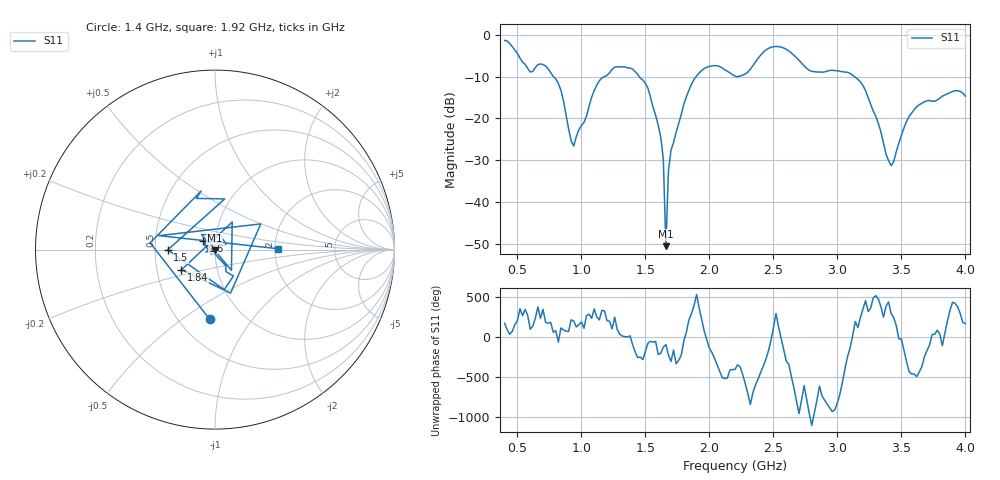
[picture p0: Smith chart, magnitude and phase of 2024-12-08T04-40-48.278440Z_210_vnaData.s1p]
!Created with skrf (http://scikit-rf.org).
# Hz S RI R 50.0
!freq ReS11 ImS11
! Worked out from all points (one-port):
!   181 points, 400 MHz to 4 GHz, reference 50 ohm
!   lowest |S11| = -50.5 dB at 1.66 GHz (marker M1), VSWR 1.01, Z = 50 - j0.297 ohm
!   |S11| at or under -10 dB: 781.8 MHz to 1.179 GHz (397.6 MHz wide, 40.5 % of centre); 1.452 GHz to 1.896 GHz (444.3 MHz wide, 26.5 % of centre); 3.134 GHz to end of sweep (the widest 3 of 4)
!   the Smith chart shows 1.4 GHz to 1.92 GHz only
!   S11 on the Smith chart (normalised r, x): 1.4 GHz: 0.70, -0.64; 1.5 GHz: 0.58, -0.00; 1.6 GHz: 0.87, +0.09; 1.84 GHz: 0.67, -0.16; 1.92 GHz: 2.07, +0.02
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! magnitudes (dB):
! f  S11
! 400 MHz  -1.4
! 600 MHz  -8.9
! 720 MHz  -7.4
! 860 MHz  -15.8
! 940 MHz  -26.6
! 1.14 GHz  -11.0
! 1.3 GHz  -7.7
! 1.4 GHz  -8.2
! 1.5 GHz  -11.6
! 1.6 GHz  -21.6
! 1.64 GHz  -29.7
! 1.66 GHz  -50.5
! 1.68 GHz  -32.6
! 1.7 GHz  -27.6
! 1.76 GHz  -21.2
! 1.84 GHz  -13.2
! 1.92 GHz  -9.1
! 2.04 GHz  -7.4
! 2.2 GHz  -9.9
! 2.48 GHz  -3.0
! 2.66 GHz  -4.9
! 2.8 GHz  -8.7
! 3.1 GHz  -9.2
! 3.22 GHz  -13.4
! 3.42 GHz  -31.3
! 3.56 GHz  -19.5
! 3.9 GHz  -13.5
! 4 GHz  -14.7
